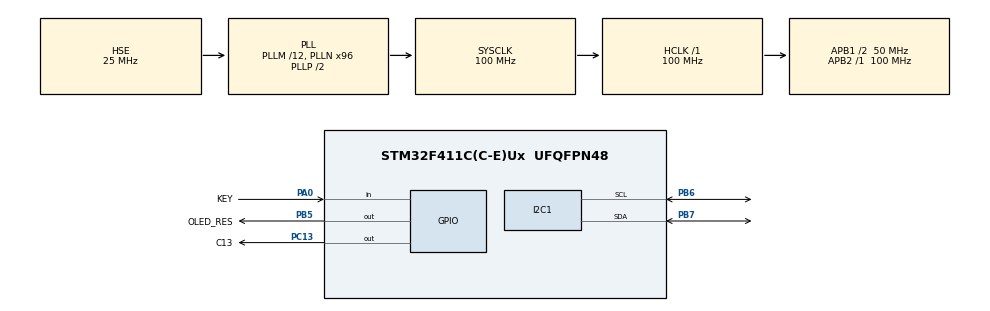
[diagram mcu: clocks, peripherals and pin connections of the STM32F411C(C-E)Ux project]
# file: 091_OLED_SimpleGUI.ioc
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I2C1.I2C_Mode=I2C_Fast
Mcu.Family=STM32F4
Mcu.Name=STM32F411C(C-E)Ux
Mcu.Package=UFQFPN48
NVIC.PriorityGroup=NVIC_PRIORITYGROUP_4
PA0-WKUP.GPIO_Label=KEY
PA0-WKUP.Signal=GPIO_Input
PA13.Mode=Serial_Wire
PA13.Signal=SYS_JTMS-SWDIO
PA14.Mode=Serial_Wire
PA14.Signal=SYS_JTCK-SWCLK
PB5.GPIO_Label=OLED_RES
PB5.PinState=GPIO_PIN_RESET
PB5.Signal=GPIO_Output
PB6.Mode=I2C
PB6.Signal=I2C1_SCL
PB7.Mode=I2C
PB7.Signal=I2C1_SDA
PC13-ANTI_TAMP.GPIO_Label=C13
PC13-ANTI_TAMP.PinState=GPIO_PIN_SET
PC13-ANTI_TAMP.Signal=GPIO_Output
PC14-OSC32_IN.Mode=LSE-External-Oscillator
PC14-OSC32_IN.Signal=RCC_OSC32_IN
PC15-OSC32_OUT.Mode=LSE-External-Oscillator
PC15-OSC32_OUT.Signal=RCC_OSC32_OUT
PH0\ -\ OSC_IN.Mode=HSE-External-Oscillator
PH0\ -\ OSC_IN.Signal=RCC_OSC_IN
PH1\ -\ OSC_OUT.Mode=HSE-External-Oscillator
PH1\ -\ OSC_OUT.Signal=RCC_OSC_OUT
ProjectManager.HeapSize=0x200
ProjectManager.StackSize=0x400
ProjectManager.TargetToolchain=MDK-ARM V5.32
RCC.48MHZClocksFreq_Value=50000000
RCC.AHBFreq_Value=100000000
RCC.APB1CLKDivider=RCC_HCLK_DIV2
RCC.APB1Freq_Value=50000000
RCC.APB1TimFreq_Value=100000000
RCC.APB2Freq_Value=100000000
RCC.APB2TimFreq_Value=100000000
RCC.CortexFreq_Value=100000000
RCC.HCLKFreq_Value=100000000
RCC.HSE_VALUE=25000000
RCC.HSI_VALUE=16000000
RCC.PLLM=12
RCC.PLLN=96
RCC.PLLSourceVirtual=RCC_PLLSOURCE_HSE
RCC.SYSCLKFreq_VALUE=100000000
RCC.SYSCLKSource=RCC_SYSCLKSOURCE_PLLCLK
RCC.VCOOutputFreq_Value=200000000
board=custom

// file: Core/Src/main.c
/* USER CODE BEGIN Header */
/**
  ******************************************************************************
  * @file           : main.c
  * @brief          : Main program body
  ******************************************************************************
  * @attention
  *
  * <h2><center>&copy; Copyright (c) 2021 STMicroelectronics.
  * All rights reserved.</center></h2>
  *
  * This software component is licensed by ST under BSD 3-Clause license,
  * the "License"; You may not use this file except in compliance with the
  * License. You may obtain a copy of the License at:
  *                        opensource.org/licenses/BSD-3-Clause
  *
  ******************************************************************************
  */
/* USER CODE END Header */
#include "main.h"
#include "i2c.h"
#include "gpio.h"

/* USER CODE BEGIN Includes */
#include "OLED.h"
#include "DemoProc.h"
/* USER CODE END Includes */

void SystemClock_Config(void);

/* USER CODE BEGIN 0 */
void LED_Blink(uint32_t Hdelay,uint32_t Ldelay)
{
	HAL_GPIO_WritePin(C13_GPIO_Port,C13_Pin,GPIO_PIN_RESET);
	HAL_Delay(Hdelay - 1);
	HAL_GPIO_WritePin(C13_GPIO_Port,C13_Pin,GPIO_PIN_SET);
	HAL_Delay(Ldelay-1);
}
/* USER CODE END 0 */

int main(void)
{

  /* MCU Configuration--------------------------------------------------------*/

  /* Reset of all peripherals, Initializes the Flash interface and the Systick. */
  HAL_Init();

  /* Configure the system clock */
  SystemClock_Config();

  /* Initialize all configured peripherals */
  MX_GPIO_Init();
  MX_I2C1_Init();
  /* USER CODE BEGIN 2 */
	OLED_Init();
	SCREEN_RefreshScreen();
	uint8_t x,y,xflag;
	x = 1,y = 1;
	xflag = 0;
  /* USER CODE END 2 */

  /* Infinite loop */
  /* USER CODE BEGIN WHILE */
  while (1)
  {
		LED_Blink(1,1);

		SCREEN_SetPixel(x, y, 1);

		SCREEN_RefreshScreen();

		if(!xflag)
		{
			x ++;
			if(x >= LCD_SIZE_WIDTH)
			{
				x = LCD_SIZE_WIDTH;
				y++;
				xflag = 1;
			}
		}
		else
		{
			x --;
			if(x <= 1)
			{
				x = 1;
				y++;
				xflag = 0;
			}
		}
		if(y>LCD_SIZE_HEIGHT)
		{
			y = 1;
			SCREEN_ClearDisplay();
			OLED_SetBrightness(128);
			DemoMainProcess();
		}

    /* USER CODE END WHILE */

  }
}

void SystemClock_Config(void)
{
  RCC_OscInitTypeDef RCC_OscInitStruct = {0};
  RCC_ClkInitTypeDef RCC_ClkInitStruct = {0};

  /** Configure the main internal regulator output voltage
  */
  __HAL_RCC_PWR_CLK_ENABLE();
  __HAL_PWR_VOLTAGESCALING_CONFIG(PWR_REGULATOR_VOLTAGE_SCALE1);
  /** Initializes the RCC Oscillators according to the specified parameters
  * in the RCC_OscInitTypeDef structure.
  */
  RCC_OscInitStruct.OscillatorType = RCC_OSCILLATORTYPE_HSE;
  RCC_OscInitStruct.HSEState = RCC_HSE_ON;
  RCC_OscInitStruct.PLL.PLLState = RCC_PLL_ON;
  RCC_OscInitStruct.PLL.PLLSource = RCC_PLLSOURCE_HSE;
  RCC_OscInitStruct.PLL.PLLM = 12;
  RCC_OscInitStruct.PLL.PLLN = 96;
  RCC_OscInitStruct.PLL.PLLP = RCC_PLLP_DIV2;
  RCC_OscInitStruct.PLL.PLLQ = 4;
  if (HAL_RCC_OscConfig(&RCC_OscInitStruct) != HAL_OK)
  {
    Error_Handler();
  }
  /** Initializes the CPU, AHB and APB buses clocks
  */
  RCC_ClkInitStruct.ClockType = RCC_CLOCKTYPE_HCLK|RCC_CLOCKTYPE_SYSCLK
                              |RCC_CLOCKTYPE_PCLK1|RCC_CLOCKTYPE_PCLK2;
  RCC_ClkInitStruct.SYSCLKSource = RCC_SYSCLKSOURCE_PLLCLK;
  RCC_ClkInitStruct.AHBCLKDivider = RCC_SYSCLK_DIV1;
  RCC_ClkInitStruct.APB1CLKDivider = RCC_HCLK_DIV2;
  RCC_ClkInitStruct.APB2CLKDivider = RCC_HCLK_DIV1;

  if (HAL_RCC_ClockConfig(&RCC_ClkInitStruct, FLASH_LATENCY_3) != HAL_OK)
  {
    Error_Handler();
  }
}

void Error_Handler(void)
{
  __disable_irq();
  while (1)
  {
  }
}

/************************ (C) COPYRIGHT STMicroelectronics *****END OF FILE****/
